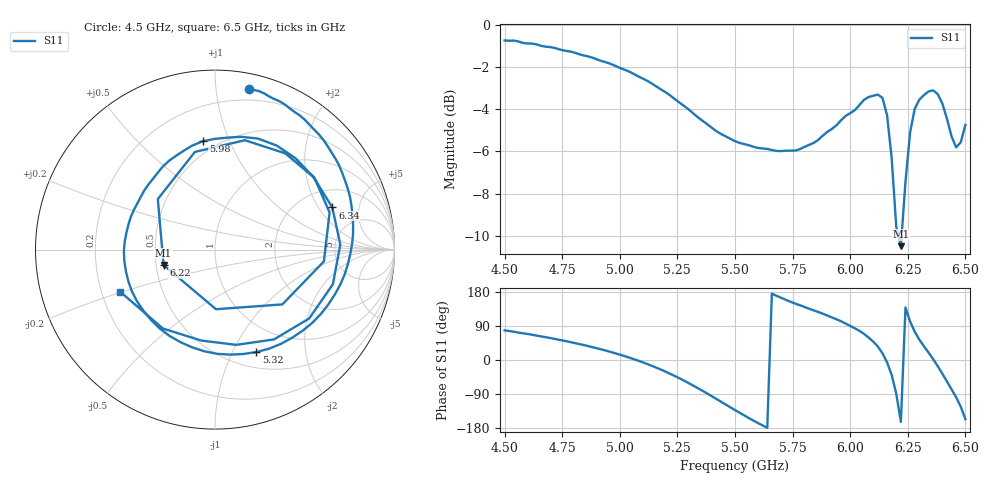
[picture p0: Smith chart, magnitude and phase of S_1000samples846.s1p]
! TOUCHSTONE file generated by CST MICROWAVE STUDIO
! Date and time: Sat Oct 29 14:15:59 2022
! Project name: L.cst
! Parameters = {Di=1.27; Epsilon_r=1.56; InnerDiameter=1.27; Length=2; Lf=10; Lg=60; OuterConductorThickness=0.2921; OuterDiameter=3.6; Wf=3; Wp=41.2; de=1.5; df=6.8; g=0.8; gx=3.97721; gy=1.90244; h=2.34; hf=1.524; px=12.3363; py=13.295; w=9.7; wx=8.35904; wy=11.3926}
! Header version: 2018
! Port assignment regex: !\s*Touchstone port\s*([0-9]+)\s*=\s*(CST MWS port|CST DS port)\s*([0-9]+|Zmin|Zmax)\s*\(\"(.*)\"\)(\s*mode\s*([0-9]+))?.*
! Touchstone port assignment:
! Touchstone port 1 = CST MWS port 1 ("")
# GHz S DB R 50
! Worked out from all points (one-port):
!   101 points, 4.5 GHz to 6.5 GHz, reference 50 ohm
!   lowest |S11| = -10.5 dB at 6.22 GHz (marker M1), VSWR 1.85, Z = 27.4 - j5.15 ohm
!   |S11| at or under -10 dB: 6.209415 GHz to 6.223157 GHz (13.74 MHz wide, 0.221 % of centre)
!   S11 on the Smith chart (normalised r, x): 4.5 GHz: 0.11, +1.23; 5.32 GHz: 0.68, -1.24; 5.98 GHz: 0.42, +0.81; 6.22 GHz: 0.55, -0.10; 6.34 GHz: 2.96, +2.68; 6.5 GHz: 0.28, -0.20
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4.5  -0.75 78.1
4.76  -1.23 50.6
5  -2.05 14.2
5.14  -2.80 -15.6
5.26  -3.70 -48.6
5.32  -4.21 -68.0
5.4  -4.89 -95.9
5.5  -5.52 -132.1
5.62  -5.86 -172.7
5.76  -5.96 149.2
5.98  -4.32 96.2
6  -4.19 89.9
6.08  -3.43 59.2
6.14  -3.47 17.9
6.16  -4.29 -6.2
6.18  -6.31 -39.1
6.2  -9.57 -89.1
6.22  -10.48 -163.4
6.24  -7.43 138.5
6.26  -5.10 101.6
6.28  -3.99 74.7
6.3  -3.56 53.8
6.34  -3.16 19.8
6.38  -3.29 -16.4
6.42  -4.46 -56.7
6.46  -5.81 -98.5
6.48  -5.57 -123.4
6.5  -4.75 -156.2
